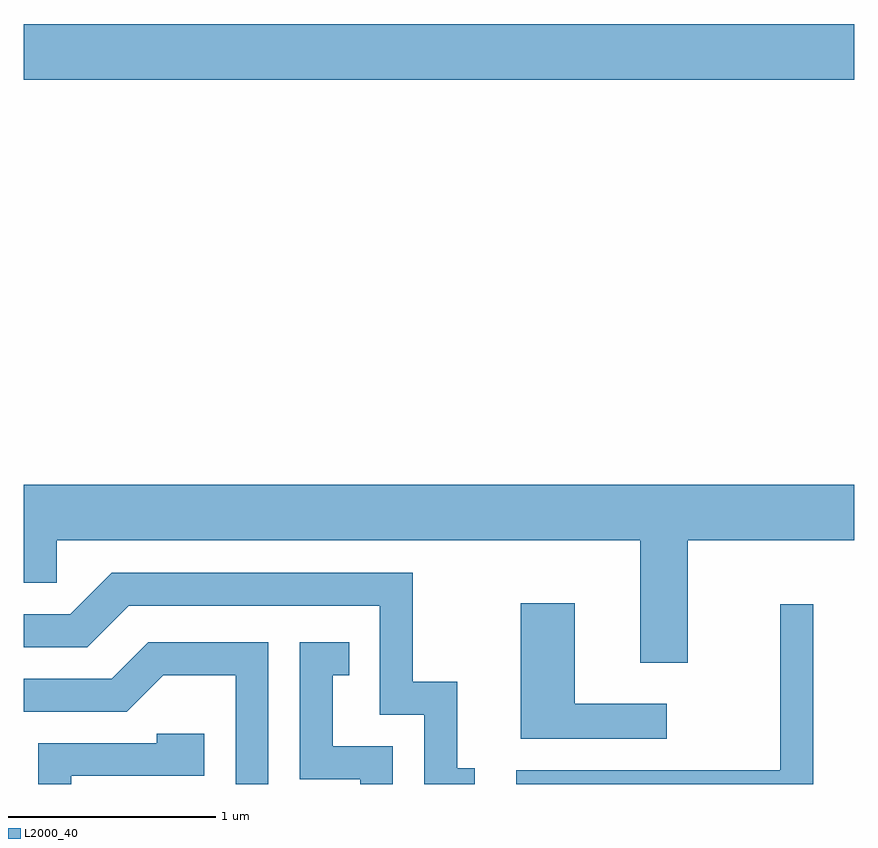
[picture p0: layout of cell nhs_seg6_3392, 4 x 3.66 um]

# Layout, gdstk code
import gdstk
lib = gdstk.Library(unit=1e-6, precision=1e-09)
def R(c, l, rs):  # rectangles x0, y0, x1, y1
    for r in rs: c.add(gdstk.rectangle(r[:2], r[2:], *l))
def P(c, l, *ps):  # polygons
    for p in ps: c.add(gdstk.Polygon(p, *l))
L2000_40 = (2000, 40)

nhs_seg6_3392 = lib.new_cell('nhs_seg6_3392')
R(nhs_seg6_3392, L2000_40, [(287.611,1585.556,291.611,1585.824)])
P(nhs_seg6_3392, L2000_40, [(290.809,1583.336),(291.611,1583.336),(291.611,1583.604),(287.611,1583.604),(287.611,1583.131),(287.769,1583.131),(287.769,1583.336),(290.581,1583.336),(290.581,1582.746),(290.809,1582.746)],
  [(289.783,1582.239),(289.699,1582.239),(289.699,1582.654),(289.484,1582.654),(289.484,1583.179),(288.034,1583.179),(287.834,1582.979),(287.611,1582.979),(287.611,1582.821),(287.917,1582.821),(288.117,1583.021),(289.326,1583.021),(289.326,1582.496),(289.541,1582.496),(289.541,1582.162),(289.783,1582.162)],
  [(290.708,1582.549),(290.264,1582.549),(290.264,1583.034),(290.006,1583.034),(290.006,1582.381),(290.708,1582.381)],
  [(291.414,1583.028),(291.256,1583.028),(291.256,1582.229),(289.983,1582.229),(289.983,1582.162),(291.414,1582.162)],
  [(288.789,1582.844),(288.209,1582.844),(288.034,1582.669),(287.611,1582.669),(287.611,1582.511),(288.107,1582.511),(288.282,1582.686),(288.631,1582.686),(288.631,1582.162),(288.789,1582.162)],
  [(289.389,1582.344),(289.099,1582.344),(289.099,1582.686),(289.178,1582.686),(289.178,1582.844),(288.941,1582.844),(288.941,1582.186),(289.231,1582.186),(289.231,1582.162),(289.389,1582.162)],
  [(287.839,1582.201),(288.479,1582.201),(288.479,1582.404),(288.251,1582.404),(288.251,1582.359),(287.681,1582.359),(287.681,1582.162),(287.839,1582.162)])

lib.write_gds('nhs_seg6_3392.gds')
